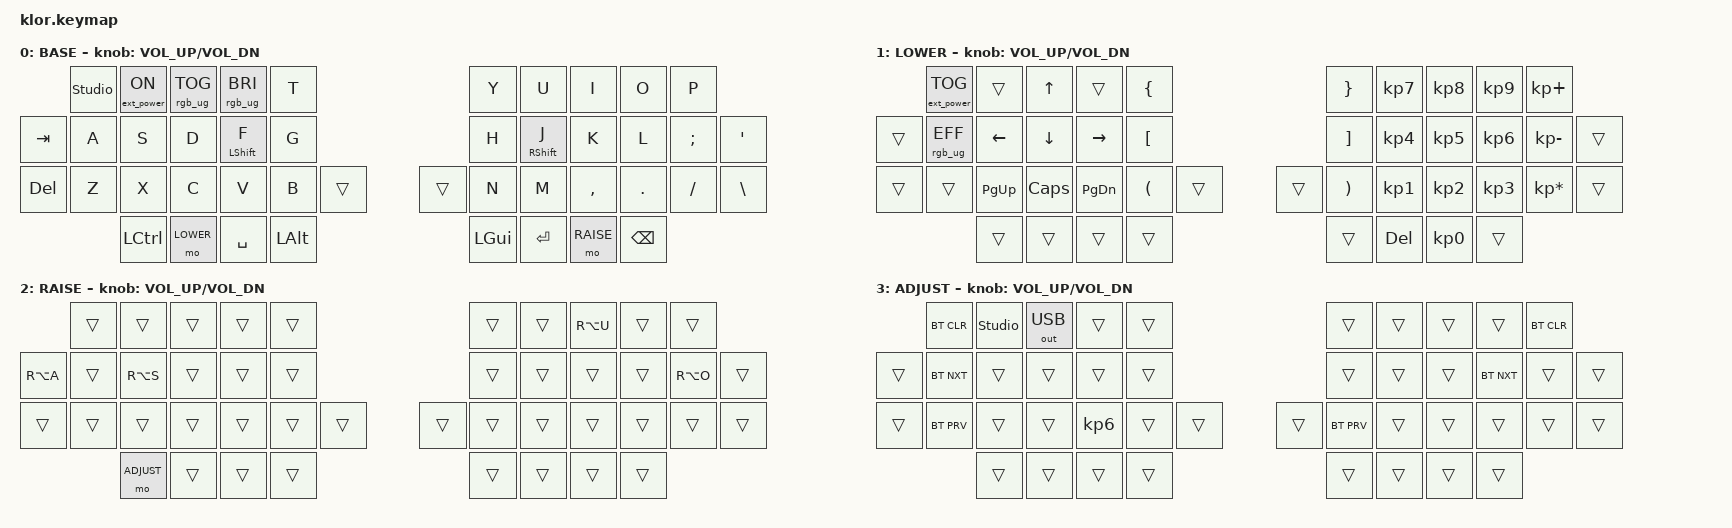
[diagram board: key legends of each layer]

//                               █         █    █            ▄▄▄▀▀▀▀▀▀▄▄▄        █▀▀▀▀▀▀▀▀▀▀█
//                               █        █     █          ▄▀            ▀▄      █          █
//                               █       █      █        ▄▀                ▀▄    █          █
//                               █      █       █        █                  █    █          █
//                               █     █        █       █                    █   █          █
//                               █    █         █       █                    █   █▄▄▄▄▄▄▄▄▄▄█
//                               █   █ █        █       █                    █   █      █
//                               █  █   █       █        █                  █    █       █
//                               █ █     █      █        ▀▄                ▄▀    █        █
//                               ██       █     █          ▀▄            ▄▀      █         █
//                               █         █    █▄▄▄▄▄▄▄▄    ▀▀▀▄▄▄▄▄▄▀▀▀        █          █
//
// ▄▄▄▄▄▄▄▄▄▄▄▄▄▄▄▄▄▄▄▄▄▄▄▄▄▄▄▄▄▄▄▄▄▄▄▄▄▄▄▄▄▄▄▄▄▄▄▄▄▄▄▄▄▄▄▄▄▄▄▄▄▄▄▄▄▄▄▄▄▄▄▄▄▄▄▄▄▄▄▄▄▄▄▄▄▄▄▄▄▄▄▄▄▄▄▄▄▄▄▄▄▄▄▄▄▄▄▄▄▄▄▄▄▄▄▄▄▄▄▄▄▄▄▄▄
       
#include <behaviors.dtsi>
#include <dt-bindings/zmk/keys.h>
#include <dt-bindings/zmk/bt.h>
#include <dt-bindings/zmk/outputs.h>
#include <dt-bindings/zmk/ext_power.h>
#include <dt-bindings/zmk/rgb.h>


#define BASE   0
#define LOWER  1
#define RAISE  2
#define ADJUST 3


/ {
    behaviors {
        hm: homerow_mods {
            compatible = "zmk,behavior-hold-tap";
            label = "HOMEROW_MODS";
            #binding-cells = <2>;
            tapping-term-ms = <150>;
            quick_tap_ms = <0>;
            flavor = "tap-preferred";
            bindings = <&kp>, <&kp>;
        };

    };





        keymap {
                compatible = "zmk,keymap";
// ▄▄▄▄▄▄▄▄▄▄▄▄▄▄▄▄▄▄▄▄▄▄▄▄▄▄▄▄▄▄▄▄▄▄▄▄▄▄▄▄▄▄▄▄▄▄▄▄▄▄▄▄▄▄▄▄▄▄▄▄▄▄▄▄▄▄▄▄▄▄▄▄▄▄▄▄▄▄▄▄▄▄▄▄▄▄▄▄▄▄▄▄▄▄▄▄▄▄▄▄▄▄▄▄▄▄▄▄▄▄▄▄▄▄▄▄▄▄▄▄▄▄▄▄▄▄▄▄▄▄▄▄▄▄▄▄▄▄▄▄▄▄


                base_layer {
// ┌───────────────────────────────────────────────────────────┐
label= "BASE"                                                  ;
// └───────────────────────────────────────────────────────────┘
/*           ┌─────────┬─────────┬─────────┬─────────┬─────────┐                    ┌─────────┬─────────┬─────────┬─────────┬─────────┐
             │ UNLOCK  │ PWR ON  │ RGB TOG │ BRI UP  │    T    │                    │    Y    │    U    │    I    │    O    │    P    │
   ┌─────────┼─────────┼─────────┼─────────┼─────────┼─────────┤                    ├─────────┼─────────┼─────────┼─────────┼─────────┼─────────┐
   │   TAB   │    A    │    S    │    D    │    F    │    G    │                    │    H    │    J    │    K    │    L    │    ;    │    "    │
   ├─────────┼─────────┼─────────┼─────────┼─────────┼─────────┤╭────────╮╭────────╮├─────────┼─────────┼─────────┼─────────┼─────────┼─────────┤
   │   DEL   │    Z    │    X    │    C    │    V    │    B    ││  MUTE  ││PLY/PSE ││    N    │    M    │    ,    │    .    │    /    │    \    │
   └─────────┴─────────┴─────────┼─────────┼─────────┼─────────┼╰────────╯╰────────╯┼─────────┼─────────┼─────────┼─────────┴─────────┴─────────┘
                                 │  CTRL   │  LOWER  │  SPACE  │   ALT   ││ CMD/WIN │  ENTER  │  RAISE  │  BSPCE  │  
                                 └─────────┴─────────┴─────────┴─────────┘└─────────┴─────────┴─────────┴─────────┘ */ 
 bindings = <
 //╷         ╷         ╷         ╷         ╷         ╷         ╷         ╷╷         ╷         ╷         ╷         ╷         ╷         ╷         ╷
              &studio_unlock &ext_power EP_ON &rgb_ug RGB_TOG &rgb_ug RGB_BRI     &kp T                          &kp Y     &kp U     &kp I     &kp O     &kp P
    &kp TAB   &kp A     &kp S     &kp D   &hm LSHFT F &kp G                          &kp H   &hm RSHFT J &kp K     &kp L     &kp SEMI  &kp SQT
    &kp DEL   &kp Z     &kp X     &kp C     &kp V     &kp B     &trans     &trans    &kp N     &kp M     &kp COMMA &kp DOT   &kp FSLH  &kp BSLH
                                  &kp LCTRL &mo LOWER &kp SPACE &kp LALT   &kp LGUI  &kp RET   &mo RAISE &kp BSPC    
                        >;
            sensor-bindings = <&inc_dec_kp C_VOL_UP C_VOL_DN>;
                };

// ▄▄▄▄▄▄▄▄▄▄▄▄▄▄▄▄▄▄▄▄▄▄▄▄▄▄▄▄▄▄▄▄▄▄▄▄▄▄▄▄▄▄▄▄▄▄▄▄▄▄▄▄▄▄▄▄▄▄▄▄▄▄▄▄▄▄▄▄▄▄▄▄▄▄▄▄▄▄▄▄▄▄▄▄▄▄▄▄▄▄▄▄▄▄▄▄▄▄▄▄▄▄▄▄▄▄▄▄▄▄▄▄▄▄▄▄▄▄▄▄▄▄▄▄▄▄▄▄▄▄▄▄▄▄▄▄▄▄▄▄▄▄


                lower_layer {
// ┌───────────────────────────────────────────────────────────┐
label= "LOWER"                                                 ;
// └───────────────────────────────────────────────────────────┘
/*           ┌─────────┬─────────┬─────────┬─────────┬─────────┐                    ┌─────────┬─────────┬─────────┬─────────┬─────────┐
             │         │         │    UP   │         │    {    │                    │    }    │    7    │    8    │    9    │    +    │
   ┌─────────┼─────────┼─────────┼─────────┼─────────┼─────────┤                    ├─────────┼─────────┼─────────┼─────────┼─────────┼─────────┐
   │         │         │   LEFT  │  DOWN   │  RIGHT  │    [    │                    │    ]    │    4    │    5    │    6    │    -    │         │
   ├─────────┼─────────┼─────────┼─────────┼─────────┼─────────┤╭────────╮╭────────╮├─────────┼─────────┼─────────┼─────────┼─────────┼─────────┤
   │         │         │   P UP  │ C LOCK  │ P DOWN  │    (    ││        ││        ││    )    │    1    │    2    │    3    │    *    │         │
   └─────────┴─────────┴─────────┼─────────┼─────────┼─────────┼╰────────╯╰────────╯┼─────────┼─────────┼─────────┼─────────┴─────────┴─────────┘
                                 │         │         │         │         ││         │         │    0    │         │  
                                 └─────────┴─────────┴─────────┴─────────┘└─────────┴─────────┴─────────┴─────────┘ */ 
 bindings = <
 //╷         ╷         ╷         ╷         ╷         ╷         ╷         ╷╷         ╷         ╷         ╷         ╷         ╷         ╷         ╷
    &ext_power EP_TOG   &trans    &kp UP    &trans    &kp LBRC                       &kp RBRC  &kp KP_N7 &kp KP_N8 &kp KP_N9 &kp KP_PLUS
    &trans  &rgb_ug RGB_EFF    &kp LEFT  &kp DOWN  &kp RIGHT &kp LBKT                       &kp RBKT  &kp KP_N4 &kp KP_N5 &kp KP_N6 &kp KP_MINUS &trans
    &trans    &trans    &kp PG_UP &kp CAPS  &kp PG_DN &kp LPAR  &trans     &trans    &kp RPAR  &kp KP_N1 &kp KP_N2 &kp KP_N3 &kp KP_MULTIPLY &trans
                                  &trans    &trans    &trans    &trans     &trans    &kp DELETE &kp KP_N0 &trans  
                        >;
            sensor-bindings = <&inc_dec_kp C_VOL_UP C_VOL_DN>;
                };

// ▄▄▄▄▄▄▄▄▄▄▄▄▄▄▄▄▄▄▄▄▄▄▄▄▄▄▄▄▄▄▄▄▄▄▄▄▄▄▄▄▄▄▄▄▄▄▄▄▄▄▄▄▄▄▄▄▄▄▄▄▄▄▄▄▄▄▄▄▄▄▄▄▄▄▄▄▄▄▄▄▄▄▄▄▄▄▄▄▄▄▄▄▄▄▄▄▄▄▄▄▄▄▄▄▄▄▄▄▄▄▄▄▄▄▄▄▄▄▄▄▄▄▄▄▄


                raise_layer {
// ┌───────────────────────────────────────────────────────────┐
label= "RAISE"                                                 ;
// └───────────────────────────────────────────────────────────┘
/*           ┌─────────┬─────────┬─────────┬─────────┬─────────┐                    ┌─────────┬─────────┬─────────┬─────────┬─────────┐
             │         │         │         │         │         │                    │         │         │    Ü    │         │         │
   ┌─────────┼─────────┼─────────┼─────────┼─────────┼─────────┤                    ├─────────┼─────────┼─────────┼─────────┼─────────┼─────────┐
   │    Ä    │         │    ß    │         │         │         │                    │         │         │         │         │    Ö    │         │
   ├─────────┼─────────┼─────────┼─────────┼─────────┼─────────┤╭────────╮╭────────╮├─────────┼─────────┼─────────┼─────────┼─────────┼─────────┤
   │         │         │         │         │         │         ││        ││        ││         │         │         │         │         │         │
   └─────────┴─────────┴─────────┼─────────┼─────────┼─────────┼╰────────╯╰────────╯┼─────────┼─────────┼─────────┼─────────┴─────────┴─────────┘
                                 │ ADJUST  │         │         │         ││         │         │         │         │  
                                 └─────────┴─────────┴─────────┴─────────┘└─────────┴─────────┴─────────┴─────────┘ */ 
 bindings = <
 //╷         ╷         ╷         ╷         ╷         ╷         ╷         ╷╷         ╷         ╷         ╷         ╷         ╷         ╷         ╷
              &trans    &trans    &trans    &trans    &trans                         &trans    &trans    &kp RA(U) &trans    &trans     
    &kp RA(A) &trans    &kp RA(S) &trans    &trans    &trans                         &trans    &trans    &trans    &trans    &kp RA(O) &trans  
    &trans    &trans    &trans    &trans    &trans    &trans    &trans     &trans    &trans    &trans    &trans    &trans    &trans    &trans
                                  &mo ADJUST &trans   &trans    &trans     &trans    &trans    &trans    &trans  
                        >;
                sensor-bindings = <&inc_dec_kp C_VOL_UP C_VOL_DN>;
                };

// ▄▄▄▄▄▄▄▄▄▄▄▄▄▄▄▄▄▄▄▄▄▄▄▄▄▄▄▄▄▄▄▄▄▄▄▄▄▄▄▄▄▄▄▄▄▄▄▄▄▄▄▄▄▄▄▄▄▄▄▄▄▄▄▄▄▄▄▄▄▄▄▄▄▄▄▄▄▄▄▄▄▄▄▄▄▄▄▄▄▄▄▄▄▄▄▄▄▄▄▄▄▄▄▄▄▄▄▄▄▄▄▄▄▄▄▄▄▄▄▄▄▄▄▄▄


                adjust_layer {
// ┌───────────────────────────────────────────────────────────┐
label= "ADJUST"                                                ;
// └───────────────────────────────────────────────────────────┘
/*           ┌─────────┬─────────┬─────────┬─────────┬─────────┐                    ┌─────────┬─────────┬─────────┬─────────┬─────────┐
             │ BT CLR  │ UNLOCK  │ USB OUT │         │         │                    │         │         │         │         │         │
   ┌─────────┼─────────┼─────────┼─────────┼─────────┼─────────┤                    ├─────────┼─────────┼─────────┼─────────┼─────────┼─────────┐
   │         │         │         │         │         │         │                    │         │         │         │         │         │         │
   ├─────────┼─────────┼─────────┼─────────┼─────────┼─────────┤╭────────╮╭────────╮├─────────┼─────────┼─────────┼─────────┼─────────┼─────────┤
   │         │         │         │         │         │         ││        ││        ││         │         │         │         │         │         │
   └─────────┴─────────┴─────────┼─────────┼─────────┼─────────┼╰────────╯╰────────╯┼─────────┼─────────┼─────────┼─────────┴─────────┴─────────┘
                                 │         │         │         │         ││         │         │         │         │  
                                 └─────────┴─────────┴─────────┴─────────┘└─────────┴─────────┴─────────┴─────────┘ */ 
 bindings = <
 //╷         ╷         ╷         ╷         ╷         ╷         ╷         ╷╷         ╷         ╷         ╷         ╷         ╷         ╷         ╷
             &bt BT_CLR &studio_unlock &out OUT_USB &trans &trans                         &trans    &trans    &trans    &trans    &bt BT_CLR
    &trans   &bt BT_NXT &trans    &trans    &trans    &trans                         &trans    &trans    &trans    &bt BT_NXT &trans   &trans 
    &trans   &bt BT_PRV &trans    &trans    &kp KP_N6 &trans    &trans     &trans    &bt BT_PRV &trans   &trans    &trans    &trans    &trans    
                                  &trans    &trans    &trans    &trans     &trans    &trans    &trans    &trans    
                        >;
            sensor-bindings = <&inc_dec_kp C_VOL_UP C_VOL_DN>;
                };
        };
};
